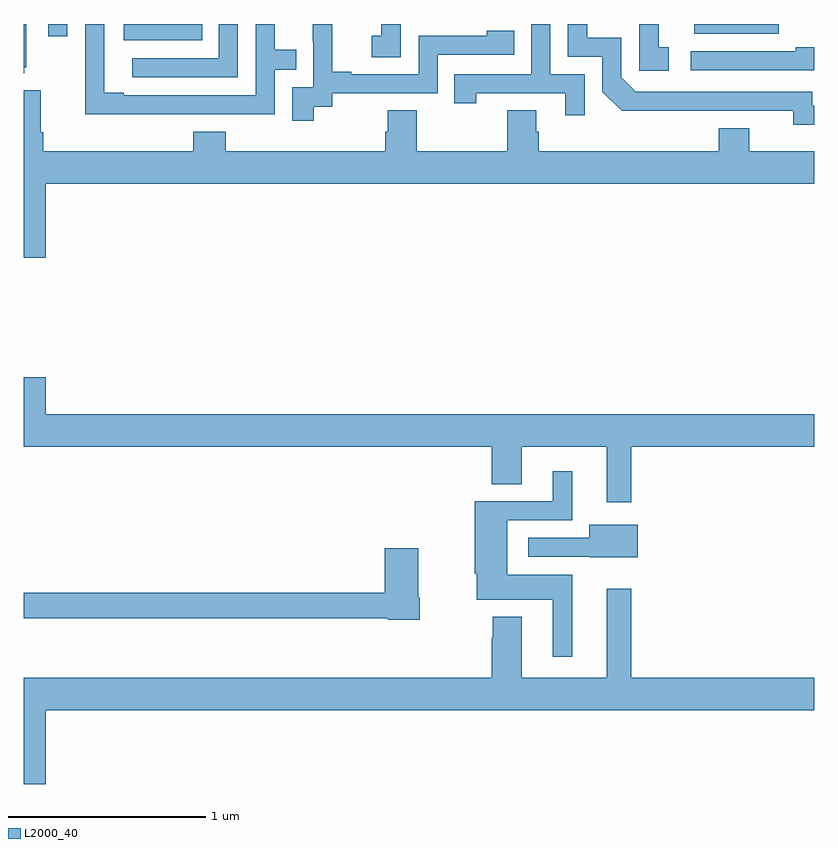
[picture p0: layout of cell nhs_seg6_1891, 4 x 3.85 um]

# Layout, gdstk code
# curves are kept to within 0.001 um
import gdstk
lib = gdstk.Library(unit=1e-6, precision=1e-09)
def R(c, l, rs):  # rectangles x0, y0, x1, y1
    for r in rs: c.add(gdstk.rectangle(r[:2], r[2:], *l))
def P(c, l, *ps):  # polygons
    for p in ps: c.add(gdstk.Polygon(p, *l))
L2000_40 = (2000, 40)

nhs_seg6_1891 = lib.new_cell('nhs_seg6_1891')
R(nhs_seg6_1891, L2000_40, [(225.506,925.418,225.902,925.5), (225.123,925.437,225.219,925.5), (228.392,925.451,228.82,925.5)])
P(nhs_seg6_1891, L2000_40, [(228.265,925.383),(228.212,925.383),(228.212,925.5),(228.114,925.5),(228.114,925.263),(228.265,925.263)],
  [(227.838,925.245),(227.664,925.245),(227.664,925.5),(227.568,925.5),(227.568,925.245),(227.179,925.245),(227.179,925.098),(227.29,925.098),(227.29,925.149),(227.741,925.149),(227.741,925.038),(227.838,925.038)],
  [(225.002,925.281),(225.013,925.281),(225.013,925.5),(225,925.5),(225,925.25),(225.002,925.25)],
  [(226.908,925.5),(226.81,925.5),(226.81,925.441),(226.761,925.441),(226.761,925.332),(226.908,925.332)],
  [(229,925.086),(228.99,925.086),(228.99,925.158),(228.096,925.158),(228.024,925.23),(228.024,925.431),(227.851,925.431),(227.851,925.5),(227.754,925.5),(227.754,925.335),(227.928,925.335),(227.928,925.158),(228.026,925.061),(228.894,925.062),(228.894,924.989),(229,924.989)],
  [(226.083,925.5),(225.987,925.5),(225.987,925.326),(225.549,925.326),(225.549,925.23),(226.083,925.23)],
  [(225.773,925.044),(226.269,925.044),(226.269,925.269),(226.379,925.269),(226.379,925.37),(226.269,925.37),(226.269,925.5),(226.173,925.5),(226.173,925.14),(225.505,925.14),(225.505,925.153),(225.408,925.153),(225.408,925.5),(225.312,925.5),(225.312,925.349),(225.31,925.349),(225.31,925.043),(225.773,925.043)],
  [(226.468,925.081),(226.56,925.081),(226.56,925.149),(227.094,925.149),(227.094,925.344),(227.483,925.344),(227.483,925.467),(227.343,925.467),(227.343,925.44),(226.998,925.44),(226.998,925.245),(226.657,925.245),(226.657,925.258),(226.562,925.258),(226.562,925.5),(226.463,925.5),(226.463,925.409),(226.464,925.409),(226.464,925.179),(226.359,925.179),(226.359,925.011),(226.468,925.011)],
  [(229,925.382),(228.907,925.382),(228.907,925.362),(228.375,925.362),(228.375,925.266),(229,925.266)],
  [(225.112,924.692),(229,924.692),(229,924.856),(228.67,924.856),(228.67,924.973),(228.518,924.973),(228.518,924.856),(227.606,924.856),(227.606,924.954),(227.593,924.954),(227.593,925.064),(227.446,925.064),(227.446,924.856),(226.989,924.856),(226.989,925.064),(226.841,925.064),(226.841,924.954),(226.829,924.954),(226.829,924.856),(226.022,924.856),(226.022,924.955),(225.857,924.955),(225.857,924.856),(225.098,924.856),(225.098,924.952),(225.085,924.952),(225.085,925.165),(225,925.165),(225,924.318),(225.112,924.318)],
  [(228.073,923.36),(229,923.36),(229,923.524),(225.112,923.524),(225.112,923.713),(225,923.713),(225,923.36),(227.369,923.36),(227.369,923.17),(227.521,923.17),(227.521,923.36),(227.951,923.36),(227.951,923.079),(228.073,923.079)],
  [(227.776,922.714),(227.446,922.714),(227.446,922.989),(227.776,922.989),(227.776,923.236),(227.678,923.236),(227.678,923.085),(227.282,923.085),(227.282,922.719),(227.293,922.719),(227.293,922.586),(227.678,922.586),(227.678,922.299),(227.776,922.299)],
  [(228.106,922.966),(227.861,922.966),(227.861,922.899),(227.553,922.899),(227.553,922.803),(227.865,922.803),(227.865,922.802),(228.106,922.802)],
  [(227.004,922.597),(226.996,922.597),(226.996,922.846),(226.826,922.846),(226.826,922.622),(225,922.622),(225,922.494),(226.842,922.494),(226.842,922.486),(227.004,922.486)],
  [(225.112,922.028),(229,922.028),(229,922.192),(228.073,922.192),(228.073,922.642),(227.951,922.642),(227.951,922.192),(227.521,922.192),(227.521,922.501),(227.374,922.501),(227.374,922.394),(227.369,922.394),(227.369,922.192),(225,922.192),(225,921.654),(225.112,921.654)])

lib.write_gds('nhs_seg6_1891.gds')
